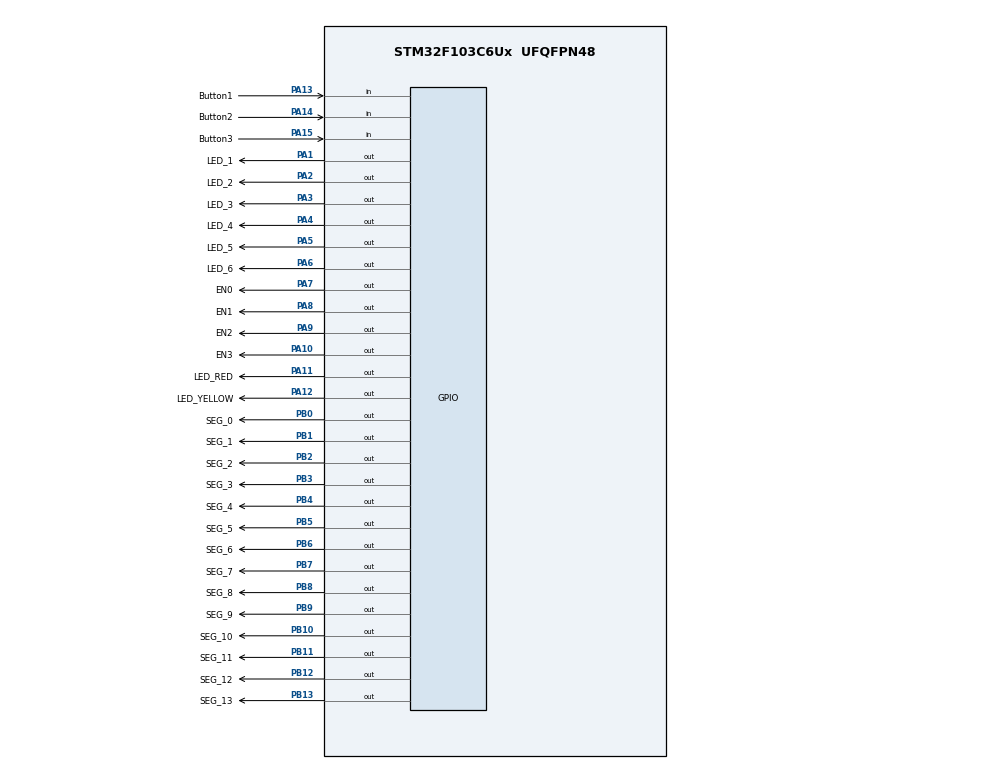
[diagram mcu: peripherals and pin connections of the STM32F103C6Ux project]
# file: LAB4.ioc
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Mcu.Family=STM32F1
Mcu.Name=STM32F103C6Ux
Mcu.Package=UFQFPN48
NVIC.PriorityGroup=NVIC_PRIORITYGROUP_4
NVIC.TIM2_IRQn=true\:0\:0\:false\:false\:true\:true\:true
PA1.GPIO_Label=LED_1
PA1.Signal=GPIO_Output
PA10.GPIO_Label=EN3
PA10.Signal=GPIO_Output
PA11.GPIO_Label=LED_RED
PA11.Signal=GPIO_Output
PA12.GPIO_Label=LED_YELLOW
PA12.Signal=GPIO_Output
PA13.GPIO_Label=Button1
PA13.GPIO_PuPd=GPIO_PULLUP
PA13.Signal=GPIO_Input
PA14.GPIO_Label=Button2
PA14.GPIO_PuPd=GPIO_PULLUP
PA14.Signal=GPIO_Input
PA15.GPIO_Label=Button3
PA15.GPIO_PuPd=GPIO_PULLUP
PA15.Signal=GPIO_Input
PA2.GPIO_Label=LED_2
PA2.Signal=GPIO_Output
PA3.GPIO_Label=LED_3
PA3.Signal=GPIO_Output
PA4.GPIO_Label=LED_4
PA4.Signal=GPIO_Output
PA5.GPIO_Label=LED_5
PA5.Signal=GPIO_Output
PA6.GPIO_Label=LED_6
PA6.Signal=GPIO_Output
PA7.GPIO_Label=EN0
PA7.Signal=GPIO_Output
PA8.GPIO_Label=EN1
PA8.Signal=GPIO_Output
PA9.GPIO_Label=EN2
PA9.Signal=GPIO_Output
PB0.GPIO_Label=SEG_0
PB0.Signal=GPIO_Output
PB1.GPIO_Label=SEG_1
PB1.Signal=GPIO_Output
PB10.GPIO_Label=SEG_10
PB10.Signal=GPIO_Output
PB11.GPIO_Label=SEG_11
PB11.Signal=GPIO_Output
PB12.GPIO_Label=SEG_12
PB12.Signal=GPIO_Output
PB13.GPIO_Label=SEG_13
PB13.Signal=GPIO_Output
PB2.GPIO_Label=SEG_2
PB2.Signal=GPIO_Output
PB3.GPIO_Label=SEG_3
PB3.Signal=GPIO_Output
PB4.GPIO_Label=SEG_4
PB4.Signal=GPIO_Output
PB5.GPIO_Label=SEG_5
PB5.Signal=GPIO_Output
PB6.GPIO_Label=SEG_6
PB6.Signal=GPIO_Output
PB7.GPIO_Label=SEG_7
PB7.Signal=GPIO_Output
PB8.GPIO_Label=SEG_8
PB8.Signal=GPIO_Output
PB9.GPIO_Label=SEG_9
PB9.Signal=GPIO_Output
ProjectManager.HeapSize=0x200
ProjectManager.StackSize=0x400
ProjectManager.TargetToolchain=STM32CubeIDE
RCC.APB1Freq_Value=8000000
RCC.APB2Freq_Value=8000000
TIM2.Period=9
TIM2.Prescaler=7999
VP_SYS_VS_ND.Mode=No_Debug
VP_TIM2_VS_ClockSourceINT.Mode=Internal
board=custom

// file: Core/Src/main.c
/* USER CODE BEGIN Header */
/**
  ******************************************************************************
  * @file           : main.c
  * @brief          : Main program body
  ******************************************************************************
  * @attention
  *
  * <h2><center>&copy; Copyright (c) 2024 STMicroelectronics.
  * All rights reserved.</center></h2>
  *
  * This software component is licensed by ST under BSD 3-Clause license,
  * the "License"; You may not use this file except in compliance with the
  * License. You may obtain a copy of the License at:
  *                        opensource.org/licenses/BSD-3-Clause
  *
  ******************************************************************************
  */
/* USER CODE END Header */
#include "main.h"

/* USER CODE BEGIN Includes */
#include "scheduler.h"
#include "global.h"
#include "fsm_automatic.h"
#include "fsm_manual.h"
#include "fsm_setting.h"
/* USER CODE END Includes */

TIM_HandleTypeDef htim2;

void SystemClock_Config(void);
static void MX_GPIO_Init(void);
static void MX_TIM2_Init(void);

/* USER CODE BEGIN 0 */
void LED()
{
	HAL_GPIO_TogglePin(GPIOA, LED_RED_Pin);
}
/* USER CODE END 0 */

int main(void)
{

  /* MCU Configuration--------------------------------------------------------*/

  /* Reset of all peripherals, Initializes the Flash interface and the Systick. */
  HAL_Init();

  /* Configure the system clock */
  SystemClock_Config();

  /* Initialize all configured peripherals */
  MX_GPIO_Init();
  MX_TIM2_Init();
  /* USER CODE BEGIN 2 */
  HAL_TIM_Base_Start_IT(&htim2);
  /* USER CODE END 2 */

  /* Infinite loop */
  /* USER CODE BEGIN WHILE */
    setTimer(1000);
    SCH_Init();
	SCH_Add_Task(LED, 1, 1000);
	SCH_Add_Task(timerRun, 1, 10);
	SCH_Add_Task(getKeyInput, 1, 10);
	SCH_Add_Task(fsm_automatic_run, 1, 10);
	SCH_Add_Task(fsm_manual_run, 1, 10);
	status = INIT;
  while (1)    //Một tick là 10ms
  {
    /* USER CODE END WHILE */
	  SCH_Dispatch_Tasks();
  }
}

void SystemClock_Config(void)
{
  RCC_OscInitTypeDef RCC_OscInitStruct = {0};
  RCC_ClkInitTypeDef RCC_ClkInitStruct = {0};

  /** Initializes the RCC Oscillators according to the specified parameters
  * in the RCC_OscInitTypeDef structure.
  */
  RCC_OscInitStruct.OscillatorType = RCC_OSCILLATORTYPE_HSI;
  RCC_OscInitStruct.HSIState = RCC_HSI_ON;
  RCC_OscInitStruct.HSICalibrationValue = RCC_HSICALIBRATION_DEFAULT;
  RCC_OscInitStruct.PLL.PLLState = RCC_PLL_NONE;
  if (HAL_RCC_OscConfig(&RCC_OscInitStruct) != HAL_OK)
  {
    Error_Handler();
  }
  /** Initializes the CPU, AHB and APB buses clocks
  */
  RCC_ClkInitStruct.ClockType = RCC_CLOCKTYPE_HCLK|RCC_CLOCKTYPE_SYSCLK
                              |RCC_CLOCKTYPE_PCLK1|RCC_CLOCKTYPE_PCLK2;
  RCC_ClkInitStruct.SYSCLKSource = RCC_SYSCLKSOURCE_HSI;
  RCC_ClkInitStruct.AHBCLKDivider = RCC_SYSCLK_DIV1;
  RCC_ClkInitStruct.APB1CLKDivider = RCC_HCLK_DIV1;
  RCC_ClkInitStruct.APB2CLKDivider = RCC_HCLK_DIV1;

  if (HAL_RCC_ClockConfig(&RCC_ClkInitStruct, FLASH_LATENCY_0) != HAL_OK)
  {
    Error_Handler();
  }
}

static void MX_TIM2_Init(void)
{

  TIM_ClockConfigTypeDef sClockSourceConfig = {0};
  TIM_MasterConfigTypeDef sMasterConfig = {0};

  htim2.Instance = TIM2;
  htim2.Init.Prescaler = 7999;
  htim2.Init.CounterMode = TIM_COUNTERMODE_UP;
  htim2.Init.Period = 9;
  htim2.Init.ClockDivision = TIM_CLOCKDIVISION_DIV1;
  htim2.Init.AutoReloadPreload = TIM_AUTORELOAD_PRELOAD_DISABLE;
  if (HAL_TIM_Base_Init(&htim2) != HAL_OK)
  {
    Error_Handler();
  }
  sClockSourceConfig.ClockSource = TIM_CLOCKSOURCE_INTERNAL;
  if (HAL_TIM_ConfigClockSource(&htim2, &sClockSourceConfig) != HAL_OK)
  {
    Error_Handler();
  }
  sMasterConfig.MasterOutputTrigger = TIM_TRGO_RESET;
  sMasterConfig.MasterSlaveMode = TIM_MASTERSLAVEMODE_DISABLE;
  if (HAL_TIMEx_MasterConfigSynchronization(&htim2, &sMasterConfig) != HAL_OK)
  {
    Error_Handler();
  }

}

static void MX_GPIO_Init(void)
{
  GPIO_InitTypeDef GPIO_InitStruct = {0};

  /* GPIO Ports Clock Enable */
  __HAL_RCC_GPIOA_CLK_ENABLE();
  __HAL_RCC_GPIOB_CLK_ENABLE();

  /*Configure GPIO pin Output Level */
  HAL_GPIO_WritePin(GPIOA, LED_1_Pin|LED_2_Pin|LED_3_Pin|LED_4_Pin
                          |LED_5_Pin|LED_6_Pin|EN0_Pin|EN1_Pin
                          |EN2_Pin|EN3_Pin|LED_RED_Pin|LED_YELLOW_Pin, GPIO_PIN_RESET);

  /*Configure GPIO pin Output Level */
  HAL_GPIO_WritePin(GPIOB, SEG_0_Pin|SEG_1_Pin|SEG_2_Pin|SEG_10_Pin
                          |SEG_11_Pin|SEG_12_Pin|SEG_13_Pin|SEG_3_Pin
                          |SEG_4_Pin|SEG_5_Pin|SEG_6_Pin|SEG_7_Pin
                          |SEG_8_Pin|SEG_9_Pin, GPIO_PIN_RESET);

  /*Configure GPIO pins : LED_1_Pin LED_2_Pin LED_3_Pin LED_4_Pin
                           LED_5_Pin LED_6_Pin EN0_Pin EN1_Pin
                           EN2_Pin EN3_Pin LED_RED_Pin LED_YELLOW_Pin */
  GPIO_InitStruct.Pin = LED_1_Pin|LED_2_Pin|LED_3_Pin|LED_4_Pin
                          |LED_5_Pin|LED_6_Pin|EN0_Pin|EN1_Pin
                          |EN2_Pin|EN3_Pin|LED_RED_Pin|LED_YELLOW_Pin;
  GPIO_InitStruct.Mode = GPIO_MODE_OUTPUT_PP;
  GPIO_InitStruct.Pull = GPIO_NOPULL;
  GPIO_InitStruct.Speed = GPIO_SPEED_FREQ_LOW;
  HAL_GPIO_Init(GPIOA, &GPIO_InitStruct);

  /*Configure GPIO pins : SEG_0_Pin SEG_1_Pin SEG_2_Pin SEG_10_Pin
                           SEG_11_Pin SEG_12_Pin SEG_13_Pin SEG_3_Pin
                           SEG_4_Pin SEG_5_Pin SEG_6_Pin SEG_7_Pin
                           SEG_8_Pin SEG_9_Pin */
  GPIO_InitStruct.Pin = SEG_0_Pin|SEG_1_Pin|SEG_2_Pin|SEG_10_Pin
                          |SEG_11_Pin|SEG_12_Pin|SEG_13_Pin|SEG_3_Pin
                          |SEG_4_Pin|SEG_5_Pin|SEG_6_Pin|SEG_7_Pin
                          |SEG_8_Pin|SEG_9_Pin;
  GPIO_InitStruct.Mode = GPIO_MODE_OUTPUT_PP;
  GPIO_InitStruct.Pull = GPIO_NOPULL;
  GPIO_InitStruct.Speed = GPIO_SPEED_FREQ_LOW;
  HAL_GPIO_Init(GPIOB, &GPIO_InitStruct);

  /*Configure GPIO pins : Button1_Pin Button2_Pin Button3_Pin */
  GPIO_InitStruct.Pin = Button1_Pin|Button2_Pin|Button3_Pin;
  GPIO_InitStruct.Mode = GPIO_MODE_INPUT;
  GPIO_InitStruct.Pull = GPIO_PULLUP;
  HAL_GPIO_Init(GPIOA, &GPIO_InitStruct);

}

/* USER CODE BEGIN 4 */
void HAL_TIM_PeriodElapsedCallback(TIM_HandleTypeDef *htim)
{
	SCH_Update();
}
/* USER CODE END 4 */

void Error_Handler(void)
{
  __disable_irq();
  while (1)
  {
  }
}

/************************ (C) COPYRIGHT STMicroelectronics *****END OF FILE****/
